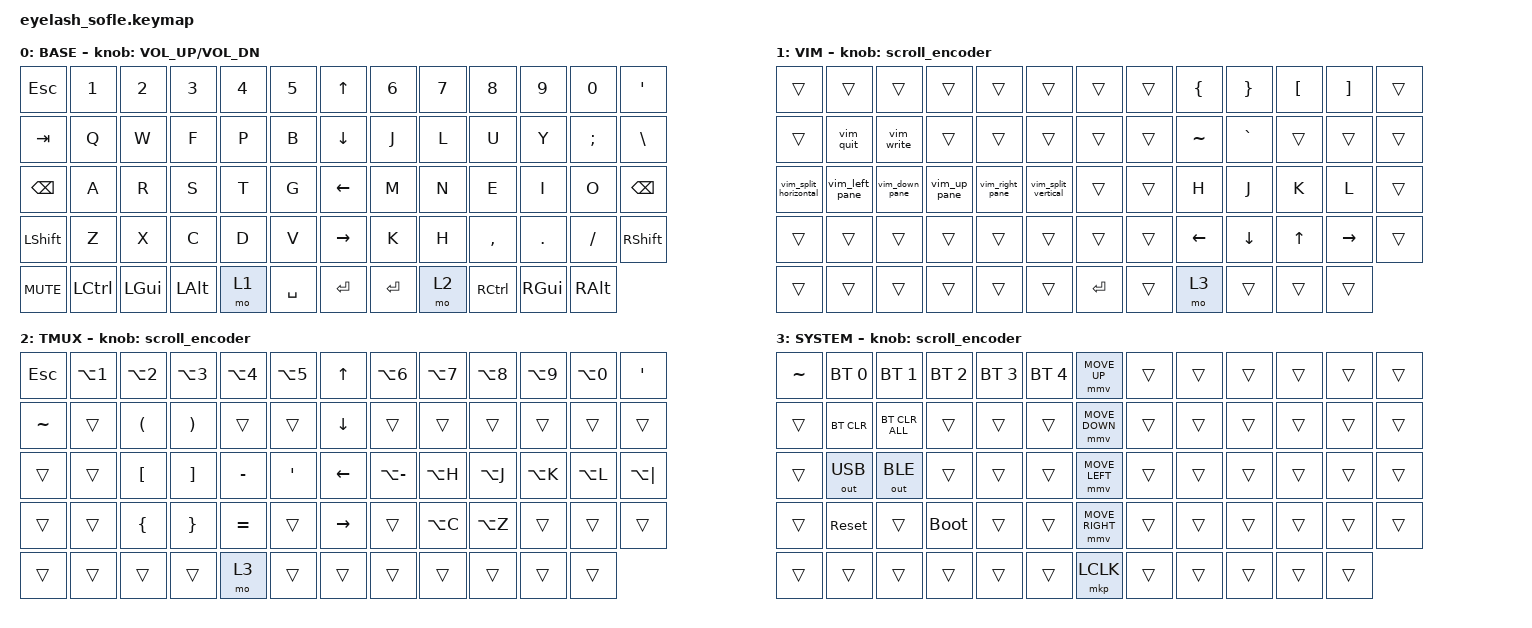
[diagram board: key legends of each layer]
#define ZMK_POINTING_DEFAULT_MOVE_VAL 1200  // 600
#define ZMK_POINTING_DEFAULT_SCRL_VAL 25   // 10

#include <input/processors.dtsi>
#include <zephyr/dt-bindings/input/input-event-codes.h>
#include <behaviors.dtsi>
#include <dt-bindings/zmk/bt.h>
#include <dt-bindings/zmk/ext_power.h>
#include <dt-bindings/zmk/keys.h>
#include <dt-bindings/zmk/pointing.h>
#include <dt-bindings/zmk/rgb.h>
#include <dt-bindings/zmk/outputs.h>

&mmv_input_listener { input-processors = <&zip_xy_scaler 2 1>; };

&msc_input_listener { input-processors = <&zip_scroll_scaler 2 1>; };

&msc {
    acceleration-exponent = <1>;      // 0
    time-to-max-speed-ms = <100>;       // 300
    delay-ms = <0>;                   // 0
};

&mmv {
    time-to-max-speed-ms = <500>;
    acceleration-exponent = <1>;
    trigger-period-ms = <16>;
};

/ {

    macros {
        vim_left_pane: vim_left_pane{
            compatible = "zmk,behavior-macro";
            #binding-cells = <0>;
            bindings = <&macro_tap &kp SPACE &kp H> ;
        };
        vim_right_pane: vim_right_pane{
            compatible = "zmk,behavior-macro";
            #binding-cells = <0>;
            bindings = <&macro_tap &kp SPACE &kp L>;
        };
        vim_up_pane: vim_up_pane{
            compatible = "zmk,behavior-macro";
            #binding-cells = <0>;
            bindings = <&macro_tap &kp SPACE &kp K>;
        };
        vim_down_pane: vim_down_pane{
            compatible = "zmk,behavior-macro";
            #binding-cells = <0>;
            bindings = <&macro_tap &kp SPACE &kp J>;
        };
        vim_split_horizontal: vim_split_horizontal{
            compatible = "zmk,behavior-macro";
            #binding-cells = <0>;
            bindings = <&macro_tap &kp SPACE &kp MINUS>;
        };
        vim_split_vertical: vim_split_vertical{
            compatible = "zmk,behavior-macro";
            #binding-cells = <0>;
            bindings = <&macro_tap &kp SPACE &kp BSLH>;
        };
        vim_write: vim_write{
            compatible = "zmk,behavior-macro";
            #binding-cells = <0>;
            bindings = <&macro_tap &kp COLON &kp W &kp ENTER>;
        };
        vim_quit: vim_quit{
            compatible = "zmk,behavior-macro";
            #binding-cells = <0>;
            bindings = <&macro_tap &kp COLON &kp Q &kp ENTER>;
        };
    };
    scroll_encoder: scroll_encoder {
        compatible = "zmk,behavior-sensor-rotate";
        #sensor-binding-cells = <0>;
        bindings = <&msc SCRL_DOWN>, <&msc SCRL_UP>;
        tap-ms = <100>;
    };

    keymap {
        compatible = "zmk,keymap";

        layer0 {
            bindings = <
&kp ESC       &kp N1     &kp N2        &kp N3        &kp N4  &kp N5       &kp UP_ARROW     &kp N6     &kp N7     &kp N8         &kp N9           &kp N0      &kp APOS 
&kp TAB       &kp Q      &kp W         &kp F         &kp P   &kp B        &kp DOWN_ARROW   &kp J      &kp L      &kp U          &kp Y            &kp SEMI    &kp BSLH
&kp BACKSPACE &kp A      &kp R         &kp S         &kp T   &kp G        &kp LEFT_ARROW   &kp M      &kp N      &kp E          &kp I            &kp O       &kp BACKSPACE
&kp LSHFT     &kp Z      &kp X         &kp C         &kp D   &kp V        &kp RIGHT_ARROW  &kp K      &kp H      &kp COMMA      &kp DOT          &kp FSLH    &kp RIGHT_SHIFT
&kp C_MUTE    &kp LCTRL  &kp LEFT_GUI  &kp LEFT_ALT  &mo 1   &kp SPACE    &kp ENTER        &kp ENTER  &mo 2      &kp RCTRL      &kp RIGHT_GUI    &kp RIGHT_ALT 
            >;

            sensor-bindings = <&inc_dec_kp C_VOLUME_UP C_VOL_DN>;
            display-name = "BASE";
        };
        
        layer_1 {
            bindings = <
&trans  &trans  &trans  &trans  &trans  &trans    &trans  &trans  &kp LEFT_BRACE &kp RIGHT_BRACE &kp LEFT_BRACKET &kp RIGHT_BRACKET &trans
&trans  &vim_quit &vim_write &trans  &trans  &trans    &trans  &trans  &kp TILDE &kp GRAVE &trans  &trans  &trans
&vim_split_horizontal  &vim_left_pane  &vim_down_pane &vim_up_pane &vim_right_pane  &vim_split_vertical &trans &trans  &kp H &kp J &kp K &kp L &trans    
&trans  &trans  &trans  &trans  &trans  &trans    &trans  &trans  &kp LEFT &kp DOWN &kp UP &kp RIGHT &trans
&trans  &trans  &trans  &trans  &trans  &trans                        &kp ENTER          &trans &mo 3   &trans  &trans  &trans
            >;

            display-name = "VIM";
            sensor-bindings = <&scroll_encoder>;
        };

        layer_2 {
            bindings = <
&kp ESC       &kp LA(N1)     &kp LA(N2)        &kp LA(N3)        &kp LA(N4)  &kp LA(N5)       &kp UP_ARROW     &kp LA(N6)     &kp LA(N7)     &kp LA(N8)         &kp LA(N9)           &kp LA(N0)      &kp APOS 
&kp TILDE &trans  &kp LPAR &kp RPAR &trans  &trans                    &kp DOWN_ARROW     &trans  &trans  &trans  &trans  &trans  &trans
&trans  &trans  &kp LEFT_BRACKET &kp RIGHT_BRACKET &kp MINUS &kp APOS &kp LEFT_ARROW     &kp LA(MINUS)  &kp LA(H) &kp LA(J) &kp LA(K) &kp LA(L) &kp LA(PIPE)
&trans  &trans  &kp LEFT_BRACE &kp RIGHT_BRACE &kp EQUAL &trans       &kp RIGHT_ARROW    &trans &kp LA(C)  &kp LA(Z) &trans  &trans  &trans
&trans  &trans  &trans  &trans  &mo 3   &trans    &trans  &trans  &trans  &trans  &trans  &trans
            >;

            display-name = "TMUX";
            sensor-bindings = <&scroll_encoder>;
        };


        layer_3 {
            bindings = <
&kp TILDE  &bt BT_SEL 0  &bt BT_SEL 1    &bt BT_SEL 2  &bt BT_SEL 3  &bt BT_SEL 4    &mmv MOVE_UP     &trans  &trans  &trans &trans &trans &trans
&trans     &bt BT_CLR    &bt BT_CLR_ALL  &trans        &trans        &trans          &mmv MOVE_DOWN   &trans  &trans  &trans &trans &trans &trans
&trans     &out OUT_USB  &out OUT_BLE    &trans        &trans        &trans          &mmv MOVE_LEFT   &trans  &trans  &trans &trans &trans &trans
&trans     &sys_reset    &trans          &bootloader   &trans        &trans          &mmv MOVE_RIGHT  &trans  &trans  &trans &trans &trans &trans
&trans     &trans        &trans          &trans        &trans        &trans          &mkp LCLK        &trans  &trans  &trans &trans &trans
            >;
            display-name = "SYSTEM";
            sensor-bindings = <&scroll_encoder>;
        };
    };
};
